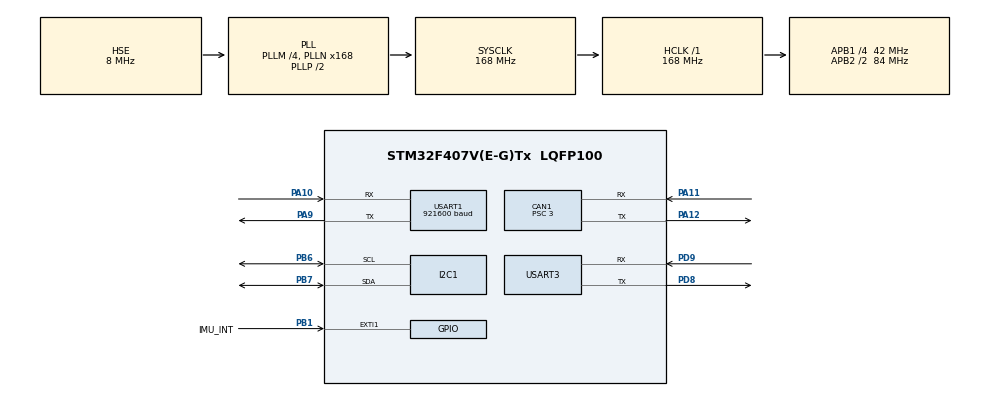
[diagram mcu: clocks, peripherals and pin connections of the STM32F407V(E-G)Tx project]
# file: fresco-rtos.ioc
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CAN1.BS1=CAN_BS1_11TQ
CAN1.BS2=CAN_BS2_2TQ
CAN1.CalculateBaudRate=1000000
CAN1.CalculateTimeBit=1000
CAN1.CalculateTimeQuantum=71.42857142857143
CAN1.Prescaler=3
Dma.Request0=USART3_RX
Dma.Request1=USART1_TX
Dma.Request2=USART1_RX
Dma.USART1_RX.2.Direction=DMA_PERIPH_TO_MEMORY
Dma.USART1_RX.2.FIFOMode=DMA_FIFOMODE_DISABLE
Dma.USART1_RX.2.Instance=DMA2_Stream2
Dma.USART1_RX.2.MemDataAlignment=DMA_MDATAALIGN_BYTE
Dma.USART1_RX.2.MemInc=DMA_MINC_ENABLE
Dma.USART1_RX.2.Mode=DMA_CIRCULAR
Dma.USART1_RX.2.PeriphDataAlignment=DMA_PDATAALIGN_BYTE
Dma.USART1_RX.2.PeriphInc=DMA_PINC_DISABLE
Dma.USART1_RX.2.Priority=DMA_PRIORITY_HIGH
Dma.USART1_TX.1.Direction=DMA_MEMORY_TO_PERIPH
Dma.USART1_TX.1.FIFOMode=DMA_FIFOMODE_DISABLE
Dma.USART1_TX.1.Instance=DMA2_Stream7
Dma.USART1_TX.1.MemDataAlignment=DMA_MDATAALIGN_BYTE
Dma.USART1_TX.1.MemInc=DMA_MINC_ENABLE
Dma.USART1_TX.1.Mode=DMA_NORMAL
Dma.USART1_TX.1.PeriphDataAlignment=DMA_PDATAALIGN_BYTE
Dma.USART1_TX.1.PeriphInc=DMA_PINC_DISABLE
Dma.USART1_TX.1.Priority=DMA_PRIORITY_HIGH
Dma.USART3_RX.0.Direction=DMA_PERIPH_TO_MEMORY
Dma.USART3_RX.0.FIFOMode=DMA_FIFOMODE_DISABLE
Dma.USART3_RX.0.Instance=DMA1_Stream1
Dma.USART3_RX.0.MemDataAlignment=DMA_MDATAALIGN_BYTE
Dma.USART3_RX.0.MemInc=DMA_MINC_ENABLE
Dma.USART3_RX.0.Mode=DMA_CIRCULAR
Dma.USART3_RX.0.PeriphDataAlignment=DMA_PDATAALIGN_BYTE
Dma.USART3_RX.0.PeriphInc=DMA_PINC_DISABLE
Dma.USART3_RX.0.Priority=DMA_PRIORITY_LOW
FREERTOS.Queues01=sensorQueue,5,sensor_packet_t,0,Dynamic,NULL,NULL;rosBridgeQueue,20,BridgePacket_t,0,Dynamic,NULL,NULL
FREERTOS.Tasks01=defaultTask,24,256,StartDefaultTask,Default,NULL,Dynamic,NULL,NULL;parserTask,32,1024,StartParserTask,Default,NULL,Dynamic,NULL,NULL;motorTask,48,512,StartMotorTask,Default,NULL,Dynamic,NULL,NULL;gyroTask,40,1024,StartGyroTask,Default,NULL,Dynamic,NULL,NULL;bridgeTask,24,1024,StartBridgeTask,Default,NULL,Dynamic,NULL,NULL
FREERTOS.configCHECK_FOR_STACK_OVERFLOW=2
FREERTOS.configENABLE_FPU=1
FREERTOS.configTOTAL_HEAP_SIZE=65536
FREERTOS.configUSE_NEWLIB_REENTRANT=1
I2C1.I2C_Mode=I2C_Fast
Mcu.Family=STM32F4
Mcu.Name=STM32F407V(E-G)Tx
Mcu.Package=LQFP100
NVIC.CAN1_RX0_IRQn=true\:5\:0\:false\:false\:true\:true\:true\:true\:true
NVIC.DMA1_Stream1_IRQn=true\:5\:0\:false\:false\:true\:true\:false\:true\:true
NVIC.DMA2_Stream2_IRQn=true\:5\:0\:false\:false\:true\:true\:false\:true\:true
NVIC.DMA2_Stream7_IRQn=true\:5\:0\:false\:false\:true\:true\:false\:true\:true
NVIC.I2C1_ER_IRQn=true\:5\:0\:false\:false\:true\:true\:true\:true\:true
NVIC.I2C1_EV_IRQn=true\:5\:0\:false\:false\:true\:true\:true\:true\:true
NVIC.PriorityGroup=NVIC_PRIORITYGROUP_4
NVIC.TIM6_DAC_IRQn=true\:15\:0\:false\:false\:true\:false\:false\:true\:true
NVIC.TimeBase=TIM6_DAC_IRQn
NVIC.TimeBaseIP=TIM6
NVIC.USART1_IRQn=true\:5\:0\:false\:false\:true\:true\:true\:true\:true
NVIC.USART3_IRQn=true\:5\:0\:false\:false\:true\:true\:true\:true\:true
PA10.Mode=Asynchronous
PA10.Signal=USART1_RX
PA11.Mode=CAN_Activate
PA11.Signal=CAN1_RX
PA12.Mode=CAN_Activate
PA12.Signal=CAN1_TX
PA13.Mode=Serial_Wire
PA13.Signal=SYS_JTMS-SWDIO
PA14.Mode=Serial_Wire
PA14.Signal=SYS_JTCK-SWCLK
PA9.Mode=Asynchronous
PA9.Signal=USART1_TX
PB1.GPIO_Label=IMU_INT
PB1.GPIO_ModeDefaultEXTI=GPIO_MODE_IT_FALLING
PB1.GPIO_PuPd=GPIO_PULLUP
PB1.Signal=GPXTI1
PB6.Mode=I2C
PB6.Signal=I2C1_SCL
PB7.Mode=I2C
PB7.Signal=I2C1_SDA
PD8.Mode=Asynchronous
PD8.Signal=USART3_TX
PD9.Mode=Asynchronous
PD9.Signal=USART3_RX
PH0-OSC_IN.Mode=HSE-External-Oscillator
PH0-OSC_IN.Signal=RCC_OSC_IN
PH1-OSC_OUT.Mode=HSE-External-Oscillator
PH1-OSC_OUT.Signal=RCC_OSC_OUT
ProjectManager.HeapSize=0x800
ProjectManager.StackSize=0xF00
ProjectManager.TargetToolchain=STM32CubeIDE
RCC.48MHZClocksFreq_Value=84000000
RCC.AHBFreq_Value=168000000
RCC.APB1CLKDivider=RCC_HCLK_DIV4
RCC.APB1Freq_Value=42000000
RCC.APB1TimFreq_Value=84000000
RCC.APB2CLKDivider=RCC_HCLK_DIV2
RCC.APB2Freq_Value=84000000
RCC.APB2TimFreq_Value=168000000
RCC.CortexFreq_Value=168000000
RCC.HCLKFreq_Value=168000000
RCC.HSE_VALUE=8000000
RCC.HSI_VALUE=16000000
RCC.LSE_VALUE=32768
RCC.PLLM=4
RCC.PLLN=168
RCC.PLLSourceVirtual=RCC_PLLSOURCE_HSE
RCC.SYSCLKFreq_VALUE=168000000
RCC.SYSCLKSource=RCC_SYSCLKSOURCE_PLLCLK
RCC.VCOOutputFreq_Value=336000000
USART1.BaudRate=921600
USART1.VirtualMode=VM_ASYNC
USART3.VirtualMode=VM_ASYNC
VP_FREERTOS_VS_CMSIS_V2.Mode=CMSIS_V2
VP_SYS_VS_tim6.Mode=TIM6
board=custom

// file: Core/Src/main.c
/* USER CODE BEGIN Header */
/**
  ******************************************************************************
  * @file           : main.c
  * @brief          : Main program body
  ******************************************************************************
  * @attention
  *
  * Copyright (c) 2026 STMicroelectronics.
  * All rights reserved.
  *
  * This software is licensed under terms that can be found in the LICENSE file
  * in the root directory of this software component.
  * If no LICENSE file comes with this software, it is provided AS-IS.
  *
  ******************************************************************************
  */
/* USER CODE END Header */
#include "main.h"
#include "cmsis_os.h"
#include "can.h"
#include "dma.h"
#include "i2c.h"
#include "usart.h"
#include "gpio.h"

void SystemClock_Config(void);
void MX_FREERTOS_Init(void);

int main(void)
{

  /* MCU Configuration--------------------------------------------------------*/

  /* Reset of all peripherals, Initializes the Flash interface and the Systick. */
  HAL_Init();

  /* Configure the system clock */
  SystemClock_Config();

  /* Initialize all configured peripherals */
  MX_GPIO_Init();
  MX_DMA_Init();
  MX_USART3_UART_Init();
  MX_CAN1_Init();
  MX_I2C1_Init();
  MX_USART1_UART_Init();

  /* Init scheduler */
  osKernelInitialize();  /* Call init function for freertos objects (in cmsis_os2.c) */
  MX_FREERTOS_Init();

  /* Start scheduler */
  osKernelStart();

  /* We should never get here as control is now taken by the scheduler */

  /* Infinite loop */
  while (1)
  {

  }
}

void SystemClock_Config(void)
{
  RCC_OscInitTypeDef RCC_OscInitStruct = {0};
  RCC_ClkInitTypeDef RCC_ClkInitStruct = {0};

  /** Configure the main internal regulator output voltage
  */
  __HAL_RCC_PWR_CLK_ENABLE();
  __HAL_PWR_VOLTAGESCALING_CONFIG(PWR_REGULATOR_VOLTAGE_SCALE1);

  /** Initializes the RCC Oscillators according to the specified parameters
  * in the RCC_OscInitTypeDef structure.
  */
  RCC_OscInitStruct.OscillatorType = RCC_OSCILLATORTYPE_HSE;
  RCC_OscInitStruct.HSEState = RCC_HSE_ON;
  RCC_OscInitStruct.PLL.PLLState = RCC_PLL_ON;
  RCC_OscInitStruct.PLL.PLLSource = RCC_PLLSOURCE_HSE;
  RCC_OscInitStruct.PLL.PLLM = 4;
  RCC_OscInitStruct.PLL.PLLN = 168;
  RCC_OscInitStruct.PLL.PLLP = RCC_PLLP_DIV2;
  RCC_OscInitStruct.PLL.PLLQ = 4;
  if (HAL_RCC_OscConfig(&RCC_OscInitStruct) != HAL_OK)
  {
    Error_Handler();
  }

  /** Initializes the CPU, AHB and APB buses clocks
  */
  RCC_ClkInitStruct.ClockType = RCC_CLOCKTYPE_HCLK|RCC_CLOCKTYPE_SYSCLK
                              |RCC_CLOCKTYPE_PCLK1|RCC_CLOCKTYPE_PCLK2;
  RCC_ClkInitStruct.SYSCLKSource = RCC_SYSCLKSOURCE_PLLCLK;
  RCC_ClkInitStruct.AHBCLKDivider = RCC_SYSCLK_DIV1;
  RCC_ClkInitStruct.APB1CLKDivider = RCC_HCLK_DIV4;
  RCC_ClkInitStruct.APB2CLKDivider = RCC_HCLK_DIV2;

  if (HAL_RCC_ClockConfig(&RCC_ClkInitStruct, FLASH_LATENCY_5) != HAL_OK)
  {
    Error_Handler();
  }
}

void HAL_TIM_PeriodElapsedCallback(TIM_HandleTypeDef *htim)
{
  if (htim->Instance == TIM6)
  {
    HAL_IncTick();
  }
}

void Error_Handler(void)
{
  __disable_irq();
  while (1)
  {
  }
}

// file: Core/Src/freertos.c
/* USER CODE BEGIN Header */
/**
  ******************************************************************************
  * File Name          : freertos.c
  * Description        : Code for freertos applications
  ******************************************************************************
  * @attention
  *
  * Copyright (c) 2026 STMicroelectronics.
  * All rights reserved.
  *
  * This software is licensed under terms that can be found in the LICENSE file
  * in the root directory of this software component.
  * If no LICENSE file comes with this software, it is provided AS-IS.
  *
  ******************************************************************************
  */
/* USER CODE END Header */

#include "FreeRTOS.h"
#include "task.h"
#include "main.h"
#include "cmsis_os.h"

/* USER CODE BEGIN Includes */
#include "uart_protocol.h"
#include "motor_driver.h"
#include "bno085_app.h"
#include "ros_bridge.h"
#include <math.h>
#include <stdbool.h>
#include <stdint.h>
/* USER CODE END Includes */

/* USER CODE BEGIN Variables */
// Strategy constants
#define IR_SENSOR_COUNT 16
#define IR_SENSOR_ANGLE_DEG 22.5f  // degrees between sensors (sensor 0 front, CCW)
#define IR_THRESHOLD 4000          // ADC value below which ball is detected (lower = stronger)
#define BALL_LOST_TIMEOUT_MS 1000   // use last known ball direction for this long
#define ALIGN_THRESHOLD_RAD 0.4f   // ~5.7 degrees
#define SEARCH_SPIN_SPEED 0.2f     // rad/s
#define ALIGN_KP 1.5f              // proportional gain for alignment
#define MAX_OMEGA 2.0f             // maximum angular speed (rad/s)
#define DRIVE_SPEED 0.4f           // m/s
#define HEADING_KP 2.0f                // Proportional gain for maintaining heading (TUNE THIS!)
#define PUSH_ENTRY_BALL_ANGLE_RAD 0.2f // ~11.5 degrees. Ball must be within this angle in front.
#define PUSH_ENTRY_YAW_ANGLE_RAD 0.2f  // ~11.5 degrees. Robot must be facing goal within this angle.
#define PUSH_EXIT_BALL_ANGLE_RAD 0.6f  // ~34 degrees. If ball angle exceeds this, stop pushing. (TUNE THIS!)
#define M_PI 3.14159265358979323846f

// Helper macro to clamp a value between min and max
#define CLAMP(x, min, max) ((x) < (min) ? (min) : ((x) > (max) ? (max) : (x)))

typedef enum {
    STRATEGY_SEARCH,
    STRATEGY_ALIGN,
    STRATEGY_DRIVE,
	STRATEGY_PUSH
} strategy_state_t;

static strategy_state_t strategy_state = STRATEGY_SEARCH;
static float last_ball_direction_rad = 0.0f;  // radians, 0 = front, positive CCW
static uint32_t ball_last_seen_time = 0;      // HAL_GetTick() when ball was last detected

sensor_packet_t packet;
static volatile float yaw_rad;
static float global_ball_heading;
/* USER CODE END Variables */
/* Definitions for defaultTask */
osThreadId_t defaultTaskHandle;
const osThreadAttr_t defaultTask_attributes = {
  .name = "defaultTask",
  .stack_size = 256 * 4,
  .priority = (osPriority_t) osPriorityNormal,
};
/* Definitions for parserTask */
osThreadId_t parserTaskHandle;
const osThreadAttr_t parserTask_attributes = {
  .name = "parserTask",
  .stack_size = 1024 * 4,
  .priority = (osPriority_t) osPriorityAboveNormal,
};
/* Definitions for motorTask */
osThreadId_t motorTaskHandle;
const osThreadAttr_t motorTask_attributes = {
  .name = "motorTask",
  .stack_size = 512 * 4,
  .priority = (osPriority_t) osPriorityRealtime,
};
/* Definitions for gyroTask */
osThreadId_t gyroTaskHandle;
const osThreadAttr_t gyroTask_attributes = {
  .name = "gyroTask",
  .stack_size = 1024 * 4,
  .priority = (osPriority_t) osPriorityHigh,
};
/* Definitions for bridgeTask */
osThreadId_t bridgeTaskHandle;
const osThreadAttr_t bridgeTask_attributes = {
  .name = "bridgeTask",
  .stack_size = 1024 * 4,
  .priority = (osPriority_t) osPriorityNormal,
};
/* Definitions for sensorQueue */
osMessageQueueId_t sensorQueueHandle;
const osMessageQueueAttr_t sensorQueue_attributes = {
  .name = "sensorQueue"
};
/* Definitions for rosBridgeQueue */
osMessageQueueId_t rosBridgeQueueHandle;
const osMessageQueueAttr_t rosBridgeQueue_attributes = {
  .name = "rosBridgeQueue"
};

void StartDefaultTask(void *argument);
void StartParserTask(void *argument);
void StartMotorTask(void *argument);
void StartGyroTask(void *argument);
void StartBridgeTask(void *argument);

void MX_FREERTOS_Init(void); /* (MISRA C 2004 rule 8.1) */

/* Hook prototypes */
void vApplicationStackOverflowHook(xTaskHandle xTask, signed char *pcTaskName);

/* USER CODE BEGIN 4 */
void vApplicationStackOverflowHook(xTaskHandle xTask, signed char *pcTaskName)
{
   /* Run time stack overflow checking is performed if
   configCHECK_FOR_STACK_OVERFLOW is defined to 1 or 2. This hook function is
   called if a stack overflow is detected. */
}
/* USER CODE END 4 */

void MX_FREERTOS_Init(void) {

  /* Create the queue(s) */
  /* creation of sensorQueue */
  sensorQueueHandle = osMessageQueueNew (5, sizeof(sensor_packet_t), &sensorQueue_attributes);

  /* creation of rosBridgeQueue */
  rosBridgeQueueHandle = osMessageQueueNew (20, sizeof(BridgePacket_t), &rosBridgeQueue_attributes);

  /* Create the thread(s) */
  /* creation of defaultTask */
  defaultTaskHandle = osThreadNew(StartDefaultTask, NULL, &defaultTask_attributes);

  /* creation of parserTask */
  parserTaskHandle = osThreadNew(StartParserTask, NULL, &parserTask_attributes);

  /* creation of motorTask */
  motorTaskHandle = osThreadNew(StartMotorTask, NULL, &motorTask_attributes);

  /* creation of gyroTask */
  gyroTaskHandle = osThreadNew(StartGyroTask, NULL, &gyroTask_attributes);

  /* creation of bridgeTask */
  bridgeTaskHandle = osThreadNew(StartBridgeTask, NULL, &bridgeTask_attributes);

}

void StartDefaultTask(void *argument)
{
  /* USER CODE BEGIN StartDefaultTask */
//	  sensor_packet_t packet;
	  uint32_t current_time;
	  float target_angle = 0.0f;
	  bool ball_detected = false;
	  static bool is_orbiting = false; // Tracks if we are circling behind the ball
	  static bool orbit_left = false;

	  // External declaration for IMU function
	  extern uint16_t BNO085_GetYaw_Degrees(void);

	  /* Infinite loop */
	  for(;;)
	  {
	    current_time = HAL_GetTick();

	    // 1. Drain the queue to get the FRESHEST sensor data (Zero Lag)
	    while (osMessageQueueGet(sensorQueueHandle, &packet, NULL, 0) == osOK)
	    {
	      uint16_t min_adc = 4095;
	      uint8_t min_idx = 0;
	      for (int i = 0; i < IR_SENSOR_COUNT; i++)
	      {
	        if (packet.ir_sensors[i] < min_adc)
	        {
	          min_adc = packet.ir_sensors[i];
	          min_idx = i;
	        }
	      }

	      if (min_adc < IR_THRESHOLD)
	      {
	        ball_last_seen_time = current_time;

	        float sum_x = 0.0f;
	        float sum_y = 0.0f;
	        float total_weight = 0.0f;
	        for (int i = 0; i < IR_SENSOR_COUNT; i++)
	        {
	          if (packet.ir_sensors[i] < IR_THRESHOLD)
	          {
	            float weight = 4095.0f - packet.ir_sensors[i];
	            float angle_deg = i * IR_SENSOR_ANGLE_DEG;
	            float angle_rad = angle_deg * (M_PI / 180.0f);
	            sum_x += weight * cos(angle_rad);
	            sum_y += weight * sin(angle_rad);
	            total_weight += weight;
	          }
	        }
	        if (total_weight > 0.0f)
	        {
	          last_ball_direction_rad = atan2(sum_y, sum_x);
	        }
	        else
	        {
	          last_ball_direction_rad = min_idx * IR_SENSOR_ANGLE_DEG * (M_PI / 180.0f);
	          while (last_ball_direction_rad > M_PI) last_ball_direction_rad -= 2 * M_PI;
	          while (last_ball_direction_rad < -M_PI) last_ball_direction_rad += 2 * M_PI;
	        }
	      }
	    }

	    // 2. Ball logic & Goal Alignment
	    if (ball_last_seen_time != 0 && (current_time - ball_last_seen_time < BALL_LOST_TIMEOUT_MS))
	    {
	      ball_detected = true;

	      // Get Robot Heading (0 is opponent goal)
//	      float yaw_rad = BNO085_GetYaw_Degrees() * (M_PI / 180.0f);
	      yaw_rad = BNO085_GetYaw_Degrees() * (M_PI / 180.0f);
	      while (yaw_rad > M_PI) yaw_rad -= 2.0f * M_PI;
	      while (yaw_rad < -M_PI) yaw_rad += 2.0f * M_PI;

	      // Calculate Global Heading of the ball from the robot
//	      float global_ball_heading = yaw_rad + last_ball_direction_rad;
	      global_ball_heading = yaw_rad + last_ball_direction_rad;
	      while (global_ball_heading > M_PI) global_ball_heading -= 2.0f * M_PI;
	      while (global_ball_heading < -M_PI) global_ball_heading += 2.0f * M_PI;

	      // Hysteresis to switch smoothly between Attacking and Orbiting
	      float abs_gbh = fabs(global_ball_heading);
	      if (is_orbiting) {
	          // Stop orbiting once we are safely facing the opponent side
	          if (abs_gbh < (M_PI / 6.0f)) {
	              is_orbiting = false;
	          }
	      } else {
	          // Start orbiting if pushing would send it to our own half
	          if (abs_gbh > (M_PI / 3.0f)) {
	              is_orbiting = true;
	              // LOCK IN THE DIRECTION HERE:
	              // If the ball's global heading is positive, we commit to going Left.
	              orbit_left = (global_ball_heading > 0);
	          }
	      }

//	      target_angle = last_ball_direction_rad;
//
//	      if (is_orbiting) {
//	          // Add a 1.5 rad (~85 deg) offset to curve around the side of the ball
//	          if (global_ball_heading > 0) target_angle -= 1.5f;
//	          else target_angle += 1.5f;
//
//	          // Re-normalize target angle to bounds
//	          while (target_angle > M_PI) target_angle -= 2.0f * M_PI;
//	          while (target_angle < -M_PI) target_angle += 2.0f * M_PI;
//	      }
	    }
	    else
	    {
	      ball_detected = false;
	    }

	    // 3. State machine
	    switch (strategy_state)
	        {
	          case STRATEGY_SEARCH:
	            if (ball_detected) strategy_state = STRATEGY_ALIGN; // We'll repurpose ALIGN as TRACK
	            else chassis_set_velocity(0.0f, 0.0f, SEARCH_SPIN_SPEED);
	            break;

	          case STRATEGY_ALIGN: // Acts as TRACKING and ORBITING
	            if (ball_detected)
	            {
	              // 1. ALWAYS aim to face the ball directly
	              float error_rad = last_ball_direction_rad;
	              float omega = CLAMP(ALIGN_KP * error_rad, -MAX_OMEGA, MAX_OMEGA);

	              float vx = 0.0f;
	              float vy = 0.0f;

	              // 2. Decide movement based on Goal Alignment
	              if (is_orbiting) {
	                  vy = orbit_left ? DRIVE_SPEED : -DRIVE_SPEED;
	                  vx = 0.0f; // Perfect circle orbit
                      vy = vy*0.8;
                      omega = omega*1.45;
	                  chassis_set_velocity(vx, vy, omega);
	              } else {
	                  // ATTACK MODE
	                  // Check if we meet the conditions to start a straight push
	                  if (fabs(last_ball_direction_rad) < PUSH_ENTRY_BALL_ANGLE_RAD && fabs(yaw_rad) < PUSH_ENTRY_YAW_ANGLE_RAD)
	                  {
	                      // Conditions met: Ball is centered, robot is facing goal.
	                      strategy_state = STRATEGY_PUSH;
	                  }
	                  else
	                  {
	                      // Not aligned enough yet, continue driving towards the ball.
	                      vx = DRIVE_SPEED;
	                      chassis_set_velocity(vx, 0.0f, omega);
	                  }
	              }
	            }
	            else
	            {
	              strategy_state = STRATEGY_SEARCH;
	            }
	            break;

	          case STRATEGY_DRIVE:
	            // State completely removed to prevent fighting!
	            break;

	    	case STRATEGY_PUSH:
	    		if (ball_detected)
	    		        {
	    		            // Has the ball slipped out of the front of the robot?
	    		            if (fabs(last_ball_direction_rad) > PUSH_EXIT_BALL_ANGLE_RAD)
	    		            {
	    		                // The ball is still detected, but it's too far to the side.
	    		                // Go back to ALIGN to actively recover and re-center it.
	    		                strategy_state = STRATEGY_ALIGN;
	    		            }
	    		            else
	    		            {
	    		                // Ball is still securely in front. Continue the straight push.
	    		                // Goal: Maintain heading of 0 radians (straight at opponent goal)
	    		                float heading_error_rad = 0.0f + yaw_rad;

	    		                // P-controller to correct heading drift
	    		                float omega = CLAMP(HEADING_KP * heading_error_rad, -MAX_OMEGA, MAX_OMEGA);

	    		                // Push forward at full speed.
	    		                chassis_set_velocity(DRIVE_SPEED, 0.0f, omega);
	    		            }
	    		        }
	    		        else
	    		        {
	    		            // Ball has been completely lost, go back to searching for it.
	    		            strategy_state = STRATEGY_SEARCH;
	    		        }
	    		        break;
	    }

	    osDelay(20);
	  }
  /* USER CODE END StartDefaultTask */
}

void StartParserTask(void *argument)
{
  /* USER CODE BEGIN StartParserTask */
	extern UART_HandleTypeDef huart3;
	fresco_init(&huart3, parserTaskHandle, sensorQueueHandle);
	/* Infinite loop in function */
	fresco_parser_task_entry();
  /* USER CODE END StartParserTask */
}

void StartMotorTask(void *argument)
{
  /* USER CODE BEGIN StartMotorTask */
	extern CAN_HandleTypeDef hcan1;
	motors_init(&hcan1);
	/* Infinite loop in function */
	motor_control_task_entry();
  /* USER CODE END StartMotorTask */
}

void StartGyroTask(void *argument)
{
  /* USER CODE BEGIN StartGyroTask */
//	extern I2C_HandleTypeDef hi2c1;
	bno085TaskEntry(argument);
  /* USER CODE END StartGyroTask */
}

void StartBridgeTask(void *argument)
{
  /* USER CODE BEGIN StartBridgeTask */
	static ROS_Bridge_Handle_t my_ros_bridge;
	extern UART_HandleTypeDef huart1;
	ROS_Bridge_Init(&my_ros_bridge, &huart1);
	ROS_Bridge_TaskEntry(&my_ros_bridge);
  /* USER CODE END StartBridgeTask */
}
